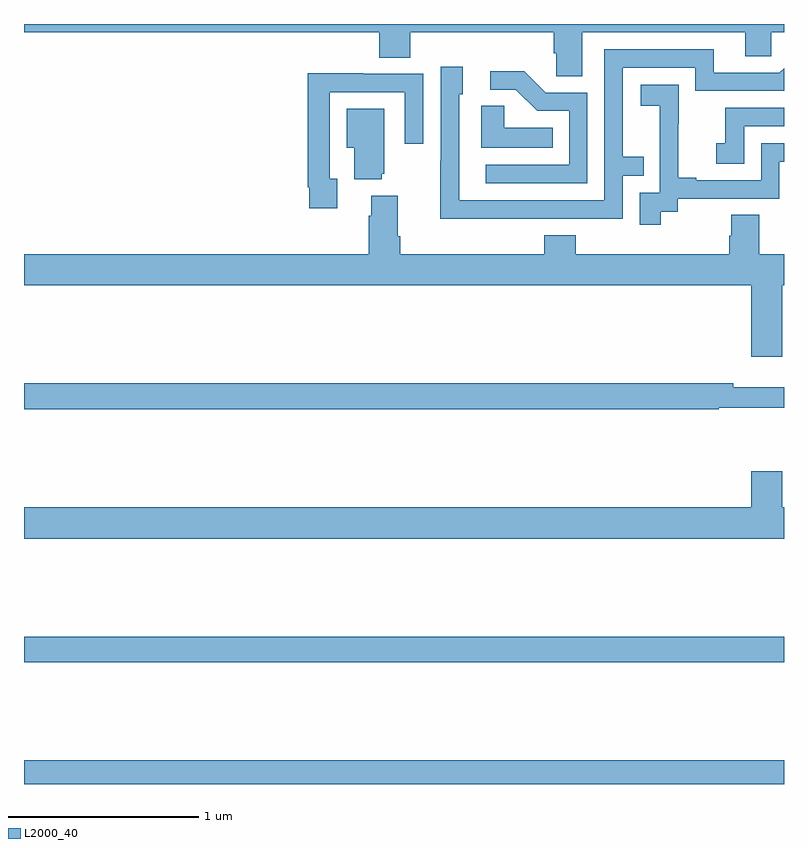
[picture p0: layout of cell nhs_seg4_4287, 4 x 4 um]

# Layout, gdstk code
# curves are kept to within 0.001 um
import gdstk
lib = gdstk.Library(unit=1e-6, precision=1e-09)
def R(c, l, rs):  # rectangles x0, y0, x1, y1
    for r in rs: c.add(gdstk.rectangle(r[:2], r[2:], *l))
def P(c, l, *ps):  # polygons
    for p in ps: c.add(gdstk.Polygon(p, *l))
L2000_40 = (2000, 40)

nhs_seg4_4287 = lib.new_cell('nhs_seg4_4287')
R(nhs_seg4_4287, L2000_40, [(341,756.9,345,757.024), (341,757.54,345,757.676)])
P(nhs_seg4_4287, L2000_40, [(341,760.856),(342.869,760.856),(342.869,760.723),(343.034,760.723),(343.034,760.856),(343.787,760.856),(343.787,760.747),(343.8,760.747),(343.8,760.624),(343.939,760.624),(343.939,760.856),(344.795,760.856),(344.795,760.729),(344.934,760.729),(344.934,760.856),(345,760.856),(345,760.9),(341,760.9)],
  [(343.655,759.876),(344.151,759.876),(344.151,760.101),(344.261,760.101),(344.261,760.202),(344.151,760.202),(344.151,760.671),(344.532,760.671),(344.532,760.548),(345,760.548),(345,760.668),(344.976,760.644),(344.629,760.644),(344.629,760.767),(344.055,760.767),(344.055,759.972),(343.29,759.972),(343.29,760.53),(343.309,760.53),(343.309,760.675),(343.194,760.675),(343.194,760.181),(343.192,760.181),(343.192,759.875)],
  [(343.965,760.539),(343.746,760.539),(343.633,760.652),(343.455,760.652),(343.455,760.554),(343.589,760.554),(343.7,760.443),(343.869,760.443),(343.869,760.158),(343.431,760.158),(343.431,760.062),(343.965,760.062)],
  [(342.649,760.086),(342.609,760.086),(342.609,760.542),(343.005,760.542),(343.005,760.269),(343.101,760.269),(343.101,760.638),(342.785,760.638),(342.785,760.64),(342.493,760.64),(342.493,760.042),(342.501,760.042),(342.501,759.93),(342.649,759.93)],
  [(344.35,759.913),(344.442,759.913),(344.442,759.981),(344.976,759.981),(344.976,760.176),(345,760.176),(345,760.272),(344.88,760.272),(344.88,760.077),(344.539,760.077),(344.539,760.09),(344.444,760.09),(344.444,760.373),(344.445,760.373),(344.445,760.579),(344.247,760.579),(344.247,760.469),(344.345,760.469),(344.345,760.241),(344.346,760.241),(344.346,760.011),(344.241,760.011),(344.241,759.843),(344.35,759.843)],
  [(343.784,760.354),(343.527,760.354),(343.527,760.469),(343.406,760.469),(343.406,760.25),(343.784,760.25)],
  [(344.79,760.362),(345,760.362),(345,760.458),(344.692,760.458),(344.692,760.273),(344.643,760.273),(344.643,760.164),(344.79,760.164)],
  [(342.884,760.113),(342.895,760.113),(342.895,760.453),(342.698,760.453),(342.698,760.25),(342.737,760.25),(342.737,760.082),(342.884,760.082)],
  [(344.992,759.524),(345,759.524),(345,759.688),(344.871,759.688),(344.871,759.896),(344.723,759.896),(344.723,759.786),(344.711,759.786),(344.711,759.688),(343.904,759.688),(343.904,759.787),(343.739,759.787),(343.739,759.688),(342.98,759.688),(342.98,759.784),(342.967,759.784),(342.967,759.997),(342.827,759.997),(342.827,759.89),(342.815,759.89),(342.815,759.688),(341,759.688),(341,759.524),(344.828,759.524),(344.828,759.15),(344.992,759.15)],
  [(344.656,758.88),(345,758.88),(345,758.989),(344.732,758.989),(344.732,759.008),(341,759.008),(341,758.872),(344.656,758.872)],
  [(345,758.356),(344.992,758.356),(344.992,758.545),(344.828,758.545),(344.828,758.356),(341,758.356),(341,758.192),(345,758.192)])

lib.write_gds('nhs_seg4_4287.gds')
